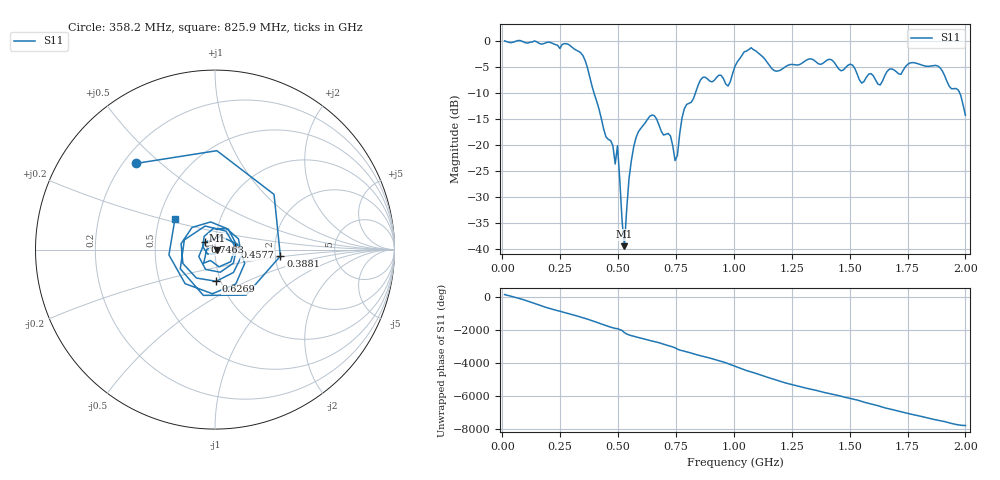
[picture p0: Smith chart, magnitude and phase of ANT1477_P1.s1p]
!Created with skrf (http://scikit-rf.org).
# Hz S RI R 50.0
!freq ReS11 ImS11
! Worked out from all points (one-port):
!   201 points, 10 MHz to 2 GHz, reference 50 ohm
!   lowest |S11| = -39.5 dB at 527.4 MHz (marker M1), VSWR 1.02, Z = 51.1 - j0.167 ohm
!   |S11| at or under -10 dB: 396.4 MHz to 834 MHz (437.6 MHz wide, 71.1 % of centre); 1.976 GHz to end of sweep
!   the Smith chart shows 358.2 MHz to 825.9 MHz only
!   S11 on the Smith chart (normalised r, x): 358.2 MHz: 0.25, +0.42; 388.1 MHz: 2.13, -0.18; 457.8 MHz: 1.25, +0.04; 626.9 MHz: 0.95, -0.35; 746.3 MHz: 0.89, +0.07; 825.9 MHz: 0.60, +0.22
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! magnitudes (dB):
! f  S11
! 10 MHz  0.1
! 258.8 MHz  -0.6
! 358.2 MHz  -3.7
! 388.1 MHz  -8.7
! 457.8 MHz  -18.9
! 487.6 MHz  -23.7
! 497.6 MHz  -20.1
! 507.5 MHz  -26.8
! 527.4 MHz  -39.5
! 547.3 MHz  -26.5
! 567.2 MHz  -20.4
! 626.9 MHz  -15.1
! 726.4 MHz  -18.3
! 746.3 MHz  -23.0
! 756.2 MHz  -22.0
! 786.1 MHz  -13.0
! 825.9 MHz  -11.0
! 865.7 MHz  -7.0
! 975.1 MHz  -8.6
! 1.005 GHz  -4.8
! 1.075 GHz  -1.2
! 1.174 GHz  -5.6
! 1.254 GHz  -4.5
! 1.502 GHz  -4.4
! 1.632 GHz  -8.4
! 1.751 GHz  -4.4
! 1.891 GHz  -5.1
! 2 GHz  -14.3
